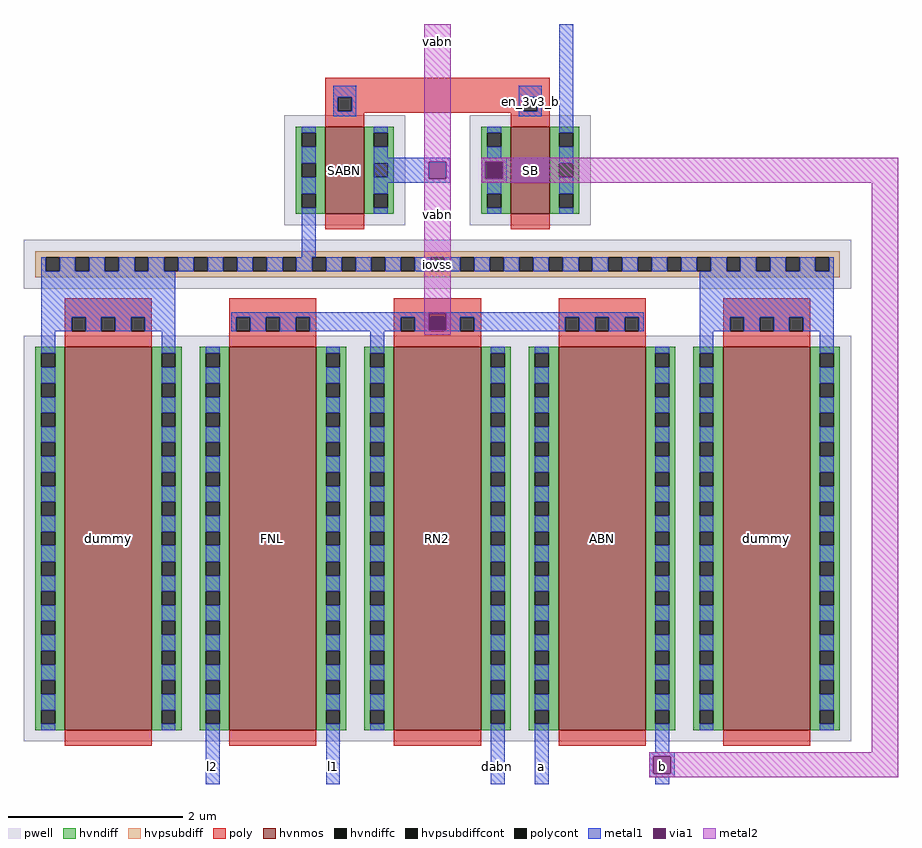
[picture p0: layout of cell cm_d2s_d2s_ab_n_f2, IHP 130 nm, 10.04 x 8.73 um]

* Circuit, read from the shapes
.subckt cm_d2s_d2s_ab_n_f2 vabn iovss l2 l1 dabn a b en_3v3_b
XM1 iovss iovss iovss iovss sg13_hv_nmos w=4.4u l=1u m=2
XM2 l1 vabn l2 iovss sg13_hv_nmos w=4.4u l=1u
XM3 vabn en_3v3_b iovss iovss sg13_hv_nmos w=1u l=0.45u
XM4 dabn vabn vabn iovss sg13_hv_nmos w=4.4u l=1u
XM5 n1 en_3v3_b b iovss sg13_hv_nmos w=1u l=0.45u
XM6 b vabn a iovss sg13_hv_nmos w=4.4u l=1u
.ends

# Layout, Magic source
magic
tech ihp-sg13cmos5l
magscale 1 2
<< pwell >>
rect -26 1014 1874 1126
<< hvpsubdiff >>
rect 0 1086 1848 1100
rect 0 1054 24 1086
rect 56 1054 92 1086
rect 124 1054 160 1086
rect 192 1054 228 1086
rect 260 1054 296 1086
rect 328 1054 364 1086
rect 396 1054 432 1086
rect 464 1054 500 1086
rect 532 1054 568 1086
rect 600 1054 636 1086
rect 668 1054 704 1086
rect 736 1054 772 1086
rect 804 1054 840 1086
rect 872 1054 908 1086
rect 940 1054 976 1086
rect 1008 1054 1044 1086
rect 1076 1054 1112 1086
rect 1144 1054 1180 1086
rect 1212 1054 1248 1086
rect 1280 1054 1316 1086
rect 1348 1054 1384 1086
rect 1416 1054 1452 1086
rect 1484 1054 1520 1086
rect 1552 1054 1588 1086
rect 1620 1054 1656 1086
rect 1688 1054 1724 1086
rect 1756 1054 1792 1086
rect 1824 1054 1848 1086
rect 0 1040 1848 1054
<< hvpsubdiffcont >>
rect 24 1054 56 1086
rect 92 1054 124 1086
rect 160 1054 192 1086
rect 228 1054 260 1086
rect 296 1054 328 1086
rect 364 1054 396 1086
rect 432 1054 464 1086
rect 500 1054 532 1086
rect 568 1054 600 1086
rect 636 1054 668 1086
rect 704 1054 736 1086
rect 772 1054 804 1086
rect 840 1054 872 1086
rect 908 1054 940 1086
rect 976 1054 1008 1086
rect 1044 1054 1076 1086
rect 1112 1054 1144 1086
rect 1180 1054 1212 1086
rect 1248 1054 1280 1086
rect 1316 1054 1348 1086
rect 1384 1054 1416 1086
rect 1452 1054 1484 1086
rect 1520 1054 1552 1086
rect 1588 1054 1620 1086
rect 1656 1054 1688 1086
rect 1724 1054 1756 1086
rect 1792 1054 1824 1086
<< poly >>
rect 666 1454 1182 1498
rect 666 1422 695 1454
rect 727 1422 1121 1454
rect 1153 1422 1182 1454
rect 666 1418 1182 1422
rect 666 1386 756 1418
rect 1092 1386 1182 1418
rect 68 948 268 992
rect 68 916 84 948
rect 116 916 152 948
rect 184 916 220 948
rect 252 916 268 948
rect 68 880 268 916
rect 446 948 646 992
rect 446 916 462 948
rect 494 916 530 948
rect 562 916 598 948
rect 630 916 646 948
rect 446 880 646 916
rect 824 948 1024 992
rect 824 916 840 948
rect 872 916 908 948
rect 940 916 976 948
rect 1008 916 1024 948
rect 824 880 1024 916
rect 1202 948 1402 992
rect 1202 916 1218 948
rect 1250 916 1286 948
rect 1318 916 1354 948
rect 1386 916 1402 948
rect 1202 880 1402 916
rect 1580 948 1780 992
rect 1580 916 1596 948
rect 1628 916 1664 948
rect 1696 916 1732 948
rect 1764 916 1780 948
rect 1580 880 1780 916
<< polycont >>
rect 695 1422 727 1454
rect 1121 1422 1153 1454
rect 84 916 116 948
rect 152 916 184 948
rect 220 916 252 948
rect 462 916 494 948
rect 530 916 562 948
rect 598 916 630 948
rect 840 916 872 948
rect 908 916 940 948
rect 976 916 1008 948
rect 1218 916 1250 948
rect 1286 916 1318 948
rect 1354 916 1386 948
rect 1596 916 1628 948
rect 1664 916 1696 948
rect 1732 916 1764 948
<< metal1 >>
rect 685 1454 737 1480
rect 685 1422 695 1454
rect 727 1422 737 1454
rect 685 1410 737 1422
rect 1111 1454 1163 1480
rect 1111 1422 1121 1454
rect 1153 1422 1163 1454
rect 1111 1410 1163 1422
rect 1204 1386 1236 1622
rect 778 1306 953 1315
rect 778 1266 904 1306
rect 944 1266 953 1306
rect 778 1257 953 1266
rect 1025 1306 1083 1315
rect 1025 1266 1034 1306
rect 1074 1266 1083 1306
rect 1025 1257 1083 1266
rect 612 1086 644 1186
rect 14 1054 24 1086
rect 56 1054 92 1086
rect 124 1054 160 1086
rect 192 1054 228 1086
rect 260 1054 296 1086
rect 328 1054 364 1086
rect 396 1054 432 1086
rect 464 1054 500 1086
rect 532 1054 568 1086
rect 600 1054 636 1086
rect 668 1054 704 1086
rect 736 1054 772 1086
rect 804 1054 840 1086
rect 872 1054 908 1086
rect 940 1054 976 1086
rect 1008 1054 1044 1086
rect 1076 1054 1112 1086
rect 1144 1054 1180 1086
rect 1212 1054 1248 1086
rect 1280 1054 1316 1086
rect 1348 1054 1384 1086
rect 1416 1054 1452 1086
rect 1484 1054 1520 1086
rect 1552 1054 1588 1086
rect 1620 1054 1656 1086
rect 1688 1054 1724 1086
rect 1756 1054 1792 1086
rect 1824 1054 1834 1086
rect 14 948 322 1054
rect 14 916 84 948
rect 116 916 152 948
rect 184 916 220 948
rect 252 916 322 948
rect 450 958 1398 960
rect 450 948 904 958
rect 944 948 1398 958
rect 450 916 462 948
rect 494 916 530 948
rect 562 916 598 948
rect 630 916 840 948
rect 872 918 904 948
rect 944 918 976 948
rect 872 916 908 918
rect 940 916 976 918
rect 1008 916 1218 948
rect 1250 916 1286 948
rect 1318 916 1354 948
rect 1386 916 1398 948
rect 1526 948 1834 1054
rect 1526 916 1596 948
rect 1628 916 1664 948
rect 1696 916 1732 948
rect 1764 916 1834 948
rect 14 880 46 916
rect 290 880 322 916
rect 770 880 802 916
rect 1526 880 1558 916
rect 1802 880 1834 916
rect 392 -124 424 0
rect 668 -124 700 0
rect 1046 -124 1078 0
rect 1148 -124 1180 0
rect 1424 -51 1456 0
rect 1411 -60 1469 -51
rect 1411 -100 1420 -60
rect 1460 -100 1469 -60
rect 1411 -109 1469 -100
rect 1424 -124 1456 -109
<< via1 >>
rect 904 1266 944 1306
rect 1034 1266 1074 1306
rect 904 948 944 958
rect 904 918 908 948
rect 908 918 940 948
rect 940 918 944 948
rect 1420 -100 1460 -60
<< metal2 >>
rect 894 1306 954 1622
rect 894 1266 904 1306
rect 944 1266 954 1306
rect 894 958 954 1266
rect 1025 1306 1982 1315
rect 1025 1266 1034 1306
rect 1074 1266 1982 1306
rect 1025 1257 1982 1266
rect 894 918 904 958
rect 944 918 954 958
rect 894 908 954 918
rect 1922 -51 1982 1257
rect 1411 -60 1982 -51
rect 1411 -100 1420 -60
rect 1460 -100 1982 -60
rect 1411 -109 1982 -100
use cm_d2s_nmosHV  cm_d2s_nmosHV_0
transform 1 0 1512 0 1 0
box -26 -36 362 916
use cm_d2s_nmosHV_1  cm_d2s_nmosHV_1_0
transform 1 0 1024 0 1 1186
box -26 -36 252 236
use cm_d2s_nmosHV_1  cm_d2s_nmosHV_1_1
transform 1 0 598 0 1 1186
box -26 -36 252 236
use cm_d2s_nmosHV  cm_d2s_nmosHV_1
transform 1 0 1134 0 1 0
box -26 -36 362 916
use cm_d2s_nmosHV  cm_d2s_nmosHV_2
transform 1 0 756 0 1 0
box -26 -36 362 916
use cm_d2s_nmosHV  cm_d2s_nmosHV_3
transform 1 0 378 0 1 0
box -26 -36 362 916
use cm_d2s_nmosHV  cm_d2s_nmosHV_4
transform 1 0 0 0 1 0
box -26 -36 362 916
<< labels >>
rlabel comment s 168 440 168 440 4 dummy
rlabel comment s 546 440 546 440 4 FNL
rlabel comment s 924 440 924 440 4 RN2
rlabel comment s 1302 440 1302 440 4 ABN
rlabel comment s 1680 440 1680 440 4 dummy
rlabel comment s 711 1286 711 1286 4 SABN
rlabel comment s 1137 1286 1137 1286 4 SB
rlabel metal2 s 894 1144 954 1224 4 vabn
port 2 nsew
rlabel metal2 s 894 1542 954 1622 4 vabn
port 2 nsew
rlabel metal1 s 724 1054 1124 1086 4 iovss
port 3 nsew
rlabel metal1 s 392 -124 424 -44 4 l2
port 4 nsew
rlabel metal1 s 668 -124 700 -44 4 l1
port 5 nsew
rlabel metal1 s 1046 -124 1078 -44 4 dabn
port 6 nsew
rlabel metal1 s 1148 -124 1180 -44 4 a
port 7 nsew
rlabel metal1 s 1424 -124 1456 -44 4 b
port 8 nsew
rlabel metal1 s 1111 1410 1163 1480 4 en_3v3_b
port 9 nsew
<< properties >>
string GDS_END 262722
string GDS_FILE custom_io/gds/sg13cmos5l_IOPadDiff2Single.uniq.gds
string GDS_START 255600
<< end >>

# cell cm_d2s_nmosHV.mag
magic
tech ihp-sg13cmos5l
magscale 1 2
<< pwell >>
rect -26 -26 362 906
<< hvnmos >>
rect 68 0 268 880
<< hvndiff >>
rect 0 866 68 880
rect 0 834 14 866
rect 46 834 68 866
rect 0 797 68 834
rect 0 765 14 797
rect 46 765 68 797
rect 0 729 68 765
rect 0 697 14 729
rect 46 697 68 729
rect 0 661 68 697
rect 0 629 14 661
rect 46 629 68 661
rect 0 592 68 629
rect 0 560 14 592
rect 46 560 68 592
rect 0 524 68 560
rect 0 492 14 524
rect 46 492 68 524
rect 0 456 68 492
rect 0 424 14 456
rect 46 424 68 456
rect 0 387 68 424
rect 0 355 14 387
rect 46 355 68 387
rect 0 319 68 355
rect 0 287 14 319
rect 46 287 68 319
rect 0 251 68 287
rect 0 219 14 251
rect 46 219 68 251
rect 0 182 68 219
rect 0 150 14 182
rect 46 150 68 182
rect 0 114 68 150
rect 0 82 14 114
rect 46 82 68 114
rect 0 46 68 82
rect 0 14 14 46
rect 46 14 68 46
rect 0 0 68 14
rect 268 866 336 880
rect 268 834 290 866
rect 322 834 336 866
rect 268 797 336 834
rect 268 765 290 797
rect 322 765 336 797
rect 268 729 336 765
rect 268 697 290 729
rect 322 697 336 729
rect 268 661 336 697
rect 268 629 290 661
rect 322 629 336 661
rect 268 592 336 629
rect 268 560 290 592
rect 322 560 336 592
rect 268 524 336 560
rect 268 492 290 524
rect 322 492 336 524
rect 268 456 336 492
rect 268 424 290 456
rect 322 424 336 456
rect 268 387 336 424
rect 268 355 290 387
rect 322 355 336 387
rect 268 319 336 355
rect 268 287 290 319
rect 322 287 336 319
rect 268 251 336 287
rect 268 219 290 251
rect 322 219 336 251
rect 268 182 336 219
rect 268 150 290 182
rect 322 150 336 182
rect 268 114 336 150
rect 268 82 290 114
rect 322 82 336 114
rect 268 46 336 82
rect 268 14 290 46
rect 322 14 336 46
rect 268 0 336 14
<< hvndiffc >>
rect 14 834 46 866
rect 14 765 46 797
rect 14 697 46 729
rect 14 629 46 661
rect 14 560 46 592
rect 14 492 46 524
rect 14 424 46 456
rect 14 355 46 387
rect 14 287 46 319
rect 14 219 46 251
rect 14 150 46 182
rect 14 82 46 114
rect 14 14 46 46
rect 290 834 322 866
rect 290 765 322 797
rect 290 697 322 729
rect 290 629 322 661
rect 290 560 322 592
rect 290 492 322 524
rect 290 424 322 456
rect 290 355 322 387
rect 290 287 322 319
rect 290 219 322 251
rect 290 150 322 182
rect 290 82 322 114
rect 290 14 322 46
<< poly >>
rect 68 880 268 916
rect 68 -36 268 0
<< metal1 >>
rect 14 866 46 880
rect 14 797 46 834
rect 14 729 46 765
rect 14 661 46 697
rect 14 592 46 629
rect 14 524 46 560
rect 14 456 46 492
rect 14 387 46 424
rect 14 319 46 355
rect 14 251 46 287
rect 14 182 46 219
rect 14 114 46 150
rect 14 46 46 82
rect 14 0 46 14
rect 290 866 322 880
rect 290 797 322 834
rect 290 729 322 765
rect 290 661 322 697
rect 290 592 322 629
rect 290 524 322 560
rect 290 456 322 492
rect 290 387 322 424
rect 290 319 322 355
rect 290 251 322 287
rect 290 182 322 219
rect 290 114 322 150
rect 290 46 322 82
rect 290 0 322 14
<< labels >>
flabel comment s 168 440 168 440 0 FreeSans 200 90 0 0 nmosHV
<< properties >>
string GDS_END 55856
string GDS_FILE custom_io/gds/sg13cmos5l_IOPadDiff2Single.uniq.gds
string GDS_START 53340
<< end >>

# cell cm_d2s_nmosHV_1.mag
magic
tech ihp-sg13cmos5l
magscale 1 2
<< pwell >>
rect -26 -26 252 226
<< hvnmos >>
rect 68 0 158 200
<< hvndiff >>
rect 0 186 68 200
rect 0 154 14 186
rect 46 154 68 186
rect 0 116 68 154
rect 0 84 14 116
rect 46 84 68 116
rect 0 46 68 84
rect 0 14 14 46
rect 46 14 68 46
rect 0 0 68 14
rect 158 186 226 200
rect 158 154 180 186
rect 212 154 226 186
rect 158 116 226 154
rect 158 84 180 116
rect 212 84 226 116
rect 158 46 226 84
rect 158 14 180 46
rect 212 14 226 46
rect 158 0 226 14
<< hvndiffc >>
rect 14 154 46 186
rect 14 84 46 116
rect 14 14 46 46
rect 180 154 212 186
rect 180 84 212 116
rect 180 14 212 46
<< poly >>
rect 68 200 158 236
rect 68 -36 158 0
<< metal1 >>
rect 14 186 46 200
rect 14 116 46 154
rect 14 46 46 84
rect 14 0 46 14
rect 180 186 212 200
rect 180 116 212 154
rect 180 46 212 84
rect 180 0 212 14
<< labels >>
flabel comment s 113 100 113 100 0 FreeSans 200 90 0 0 nmosHV
<< properties >>
string GDS_END 53294
string GDS_FILE custom_io/gds/sg13cmos5l_IOPadDiff2Single.uniq.gds
string GDS_START 52058
<< end >>
